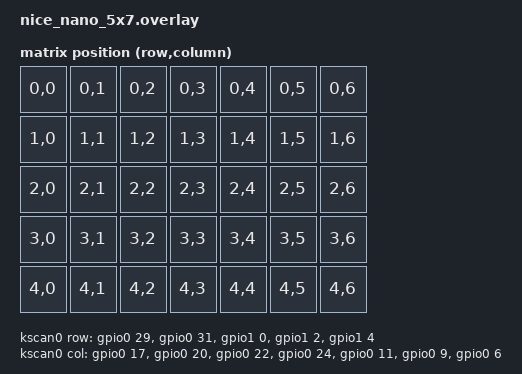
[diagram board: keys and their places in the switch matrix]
#include <dt-bindings/zmk/matrix_transform.h>

/ {
    chosen {
        zmk,kscan = &kscan0;
        zmk,matrix_transform = &default_transform;
    };

    kscan0: kscan_0 {
        compatible = "zmk,kscan-gpio-matrix";
        diode-direction = "col2row"; // ทิศทางไดโอด: คอลัมน์ไปแถว (Col to Row)

        // GPIOs สำหรับแถว (Rows)
        row-gpios
            = <&gpio0 29 (GPIO_PULL_DOWN)>  // R0 (P0.29)
            , <&gpio0 31 (GPIO_PULL_DOWN)>  // R1 (P0.31)
            , <&gpio1 0 (GPIO_PULL_DOWN)>   // R2 (P1.00)
            , <&gpio1 2 (GPIO_PULL_DOWN)>   // R3 (P1.02)
            , <&gpio1 4 (GPIO_PULL_DOWN)>   // R4 (P1.04)
            ;

        // GPIOs สำหรับคอลัมน์ (Columns)
        col-gpios
            = <&gpio0 17 (GPIO_PULL_UP)>    // C0 (P0.17)
            , <&gpio0 20 (GPIO_PULL_UP)>    // C1 (P0.20)
            , <&gpio0 22 (GPIO_PULL_UP)>    // C2 (P0.22)
            , <&gpio0 24 (GPIO_PULL_UP)>    // C3 (P0.24)
            , <&gpio0 11 (GPIO_PULL_UP)>    // C4 (P0.11)
            , <&gpio0 9 (GPIO_PULL_UP)>     // C5 (P0.09)
            , <&gpio0 6 (GPIO_PULL_UP)>     // C6 (P0.06)
            ;
    };

    default_transform: matrix_transform {
        compatible = "zmk,matrix-transform";
        rows = <5>;
        cols = <7>;
        map = <
            RC(0,0) RC(0,1) RC(0,2) RC(0,3) RC(0,4) RC(0,5) RC(0,6)
            RC(1,0) RC(1,1) RC(1,2) RC(1,3) RC(1,4) RC(1,5) RC(1,6)
            RC(2,0) RC(2,1) RC(2,2) RC(2,3) RC(2,4) RC(2,5) RC(2,6)
            RC(3,0) RC(3,1) RC(3,2) RC(3,3) RC(3,4) RC(3,5) RC(3,6)
            RC(4,0) RC(4,1) RC(4,2) RC(4,3) RC(4,4) RC(4,5) RC(4,6)
        >;
    };
};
